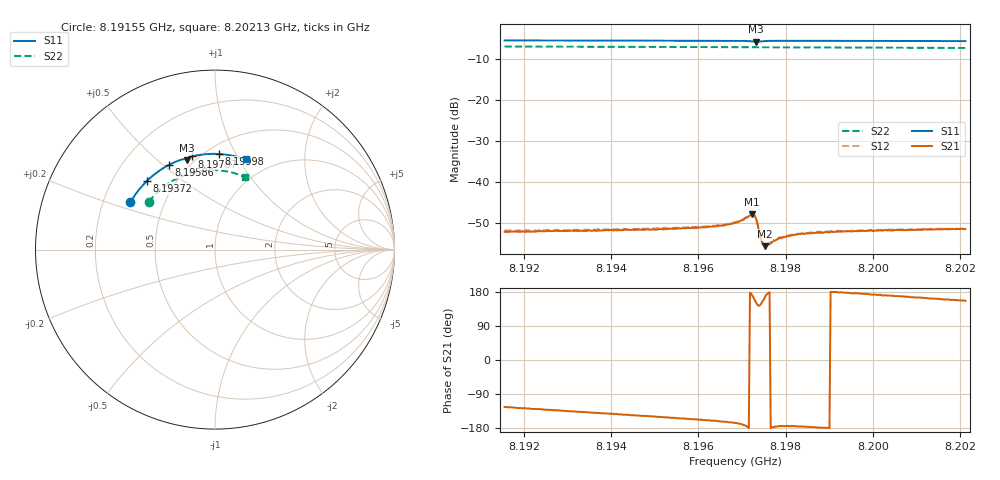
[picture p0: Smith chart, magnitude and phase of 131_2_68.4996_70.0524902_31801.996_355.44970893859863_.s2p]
#  HZ  S  RI  R  50.00
! Rohde & Schwarz Vector Network Analyzer
! Rohde-Schwarz,ZNB20-2Port,1311601062101988,3.16
! Created: UTC 3/20/2024, 5:09:37 PM
! freq[Hz]  re:S11  im:S11  re:S21  im:S21  re:S12  im:S12  re:S22  im:S22
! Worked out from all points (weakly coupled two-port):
!   401 points, 8.19155 GHz to 8.20213 GHz, reference 50 ohm
!   highest |S21| = -47.96 dB at 8.19724 GHz (marker M1); lowest = -55.7 dB at 8.19753 GHz (marker M2)
!   lowest |S11| = -5.7 dB at 8.19731 GHz (marker M3), VSWR 3.18, Z = 22.9 + j31.3 ohm
!   |S11| at or under -10 dB: nowhere
!   |S22| runs from -7.2 to -6.8 dB; largest |S21 - S12| = 0.0002
!   S11 on the Smith chart (normalised r, x): 8.19155 GHz: 0.32, +0.24; 8.19372 GHz: 0.35, +0.37; 8.19586 GHz: 0.40, +0.52; 8.19787 GHz: 0.46, +0.67; 8.19998 GHz: 0.58, +0.86; 8.20213 GHz: 0.76, +1.07
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8.191551e9  -0.4714 0.2635  -0.00137 -0.00203  -0.00149 -0.0021  -0.3691 0.2655
8.193323e9  -0.3978 0.3638  -0.00186 -0.00171  -0.00195 -0.00171  -0.3014 0.337
8.193719e9  -0.3783 0.3837  -0.00193 -0.00165  -0.00207 -0.00159  -0.2843 0.3511
8.195094e9  -0.3028 0.4443  -0.0023 -0.00131  -0.00241 -0.00125  -0.2194 0.3925
8.19586e9  -0.256 0.472  -0.00251 -0.00111  -0.00263 -0.00104  -0.1803 0.4107
8.196574e9  -0.2094 0.4935  -0.00281 -0.000891  -0.00294 -0.000801  -0.1426 0.4239
8.196839e9  -0.1908 0.5001  -0.00306 -0.000755  -0.00315 -0.000658  -0.1282 0.4281
8.197235e9  -0.159 0.5012  -0.00394 0.000691  -0.00397 0.000844  -0.1063 0.4332
8.197288e9  -0.1574 0.4982  -0.0036 0.00137  -0.00359 0.00155  -0.1034 0.4336
8.197314e9  -0.1578 0.4971  -0.00322 0.00163  -0.00321 0.00182  -0.1018 0.434
8.197341e9  -0.1589 0.4971  -0.00276 0.00174  -0.00273 0.00189  -0.1007 0.4342
8.197447e9  -0.1589 0.5038  -0.00164 0.00095  -0.00162 0.00105  -0.0951 0.4354
8.197473e9  -0.1575 0.5057  -0.00158 0.000717  -0.0016 0.000801  -0.0935 0.4359
8.197526e9  -0.154 0.5089  -0.00158 0.000398  -0.00162 0.00048  -0.0906 0.4363
8.197605e9  -0.148 0.5124  -0.0017 9.49e-05  -0.00173 0.00018  -0.0861 0.4373
8.197737e9  -0.1379 0.5163  -0.00191 -9.1e-05  -0.00194 -4.68e-05  -0.0786 0.4384
8.19787e9  -0.1282 0.5191  -0.00207 -0.000198  -0.00211 -0.000103  -0.0714 0.4394
8.198266e9  -0.0995 0.5255  -0.00226 -0.000188  -0.00229 -9.02e-05  -0.0489 0.4417
8.19861e9  -0.0751 0.5292  -0.00235 -0.000112  -0.0024 4.74e-07  -0.0296 0.4429
8.199984e9  0.0224 0.5326  -0.0025 0.000331  -0.00252 0.00045  0.0486 0.4386
8.200381e9  0.0504 0.5303  -0.00251 0.000444  -0.00254 0.000556  0.0707 0.4348
8.202126e9  0.1703 0.5024  -0.00243 0.00107  -0.00243 0.00116  0.1657 0.4045
